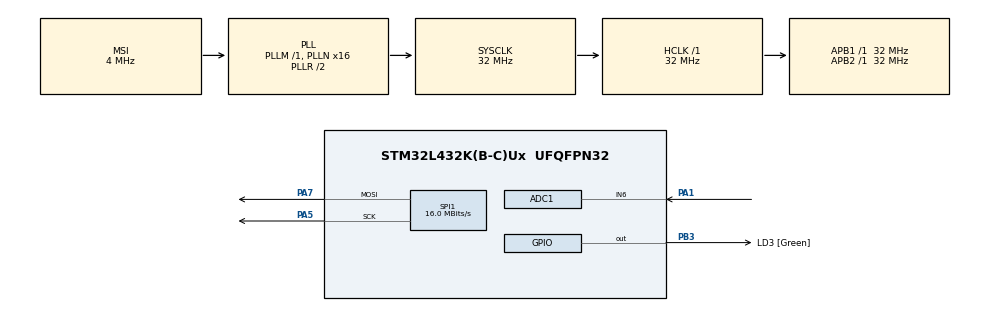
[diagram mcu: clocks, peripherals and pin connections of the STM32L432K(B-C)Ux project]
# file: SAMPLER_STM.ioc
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ADC1.Channel-0\#ChannelRegularConversion=ADC_CHANNEL_6
ADC1.ExternalTrigConv=ADC_EXTERNALTRIG_T1_TRGO
ADC1.NbrOfConversionFlag=1
ADC1.OffsetNumber-0\#ChannelRegularConversion=ADC_OFFSET_NONE
ADC1.Rank-0\#ChannelRegularConversion=1
ADC1.Resolution=ADC_RESOLUTION_12B
ADC1.SamplingTime-0\#ChannelRegularConversion=ADC_SAMPLETIME_2CYCLES_5
ADC1.master=1
Mcu.Family=STM32L4
Mcu.Name=STM32L432K(B-C)Ux
Mcu.Package=UFQFPN32
NVIC.ADC1_IRQn=true\:0\:0\:false\:false\:true\:true\:true\:true
NVIC.PriorityGroup=NVIC_PRIORITYGROUP_4
NVIC.SPI1_IRQn=true\:0\:0\:false\:false\:true\:true\:true\:true
NVIC.TIM1_BRK_TIM15_IRQn=true\:0\:0\:false\:false\:true\:true\:true\:true
NVIC.TIM1_CC_IRQn=true\:0\:0\:false\:false\:true\:true\:true\:true
NVIC.TIM1_TRG_COM_IRQn=true\:0\:0\:false\:false\:true\:true\:true\:true
NVIC.TIM1_UP_TIM16_IRQn=true\:0\:0\:false\:false\:true\:true\:true\:true
PA0.GPIO_Label=MCO [High speed clock in]
PA0.Mode=HSE-External-Clock-Source-for-LittleOrca
PA0.Signal=RCC_CK_IN
PA1.Signal=ADCx_IN6
PA13\ (JTMS-SWDIO).GPIO_Label=SWDIO
PA13\ (JTMS-SWDIO).Mode=Serial_Wire
PA13\ (JTMS-SWDIO).Signal=SYS_JTMS-SWDIO
PA14\ (JTCK-SWCLK).GPIO_Label=SWCLK
PA14\ (JTCK-SWCLK).Mode=Serial_Wire
PA14\ (JTCK-SWCLK).Signal=SYS_JTCK-SWCLK
PA15\ (JTDI).GPIO_Label=VCP_RX
PA15\ (JTDI).Signal=USART2_RX
PA2.GPIO_Label=VCP_TX
PA2.Signal=USART2_TX
PA5.Mode=TX_Only_Simplex_Unidirect_Master
PA5.Signal=SPI1_SCK
PA7.Mode=TX_Only_Simplex_Unidirect_Master
PA7.Signal=SPI1_MOSI
PB3\ (JTDO-TRACESWO).GPIO_Label=LD3 [Green]
PB3\ (JTDO-TRACESWO).Signal=GPIO_Output
PC14-OSC32_IN\ (PC14).Mode=LSE-External-Oscillator
PC14-OSC32_IN\ (PC14).Signal=RCC_OSC32_IN
PC15-OSC32_OUT\ (PC15).Mode=LSE-External-Oscillator
PC15-OSC32_OUT\ (PC15).Signal=RCC_OSC32_OUT
ProjectManager.HeapSize=0x200
ProjectManager.StackSize=0x400
ProjectManager.TargetToolchain=STM32CubeIDE
RCC.ADCFreq_Value=32000000
RCC.AHBFreq_Value=32000000
RCC.APB1Freq_Value=32000000
RCC.APB1TimFreq_Value=32000000
RCC.APB2Freq_Value=32000000
RCC.APB2TimFreq_Value=32000000
RCC.CortexFreq_Value=32000000
RCC.HCLKFreq_Value=32000000
RCC.HSE_VALUE=8000000
RCC.HSI16_VALUE=16000000
RCC.HSI48_VALUE=48000000
RCC.HSI_VALUE=16000000
RCC.MSI_VALUE=4000000
RCC.PLLMUL=RCC_PLLMUL_4
RCC.PLLN=16
RCC.PLLSAI1N=16
RCC.SYSCLKFreq_VALUE=32000000
RCC.SYSCLKSource=RCC_SYSCLKSOURCE_PLLCLK
RCC.USBFreq_Value=32000000
RCC.VCOOutputFreq_Value=64000000
SH.ADCx_IN6.0=ADC1_IN6,IN6-Single-Ended
SPI1.CalculateBaudRate=16.0 MBits/s
SPI1.DataSize=SPI_DATASIZE_16BIT
SPI1.Direction=SPI_DIRECTION_2LINES
SPI1.Mode=SPI_MODE_MASTER
SPI1.VirtualType=VM_MASTER
TIM1.Period=724
TIM1.Prescaler=0
TIM1.TIM_MasterOutputTrigger=TIM_TRGO_UPDATE
VP_TIM1_VS_ClockSourceINT.Mode=Internal
board=NUCLEO-L432KC

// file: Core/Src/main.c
/* USER CODE BEGIN Header */
/**
  ******************************************************************************
  * @file           : main.c
  * @brief          : Main program body
  ******************************************************************************
  * @attention
  *
  * Copyright (c) 2026 STMicroelectronics.
  * All rights reserved.
  *
  * This software is licensed under terms that can be found in the LICENSE file
  * in the root directory of this software component.
  * If no LICENSE file comes with this software, it is provided AS-IS.
  *
  ******************************************************************************
  */
/* USER CODE END Header */
#include "main.h"

/* USER CODE BEGIN Includes */
#include "stm32l4xx_ll_spi.h"
/* USER CODE END Includes */

ADC_HandleTypeDef hadc1;

TIM_HandleTypeDef htim1;

/* USER CODE BEGIN PV */

// required bit depth of 10 bits per sample
uint16_t raw_adc_val = 0;
// SPI is configured to send 16-bit at a time so send adc value one shot
uint16_t TX_data = 0;

/* USER CODE END PV */

void SystemClock_Config(void);
static void MX_GPIO_Init(void);
static void MX_ADC1_Init(void);
static void MX_TIM1_Init(void);
static void MX_SPI1_Init(void);
/* USER CODE BEGIN PFP */
static void SPI1_WriteTwoBytes(uint16_t tx_data);
/* USER CODE END PFP */

int main(void)
{

  /* MCU Configuration--------------------------------------------------------*/

  /* Reset of all peripherals, Initializes the Flash interface and the Systick. */
  HAL_Init();

  /* Configure the system clock */
  SystemClock_Config();

  /* Initialize all configured peripherals */
  MX_GPIO_Init();
  MX_ADC1_Init();
  MX_TIM1_Init();
  MX_SPI1_Init();
  /* USER CODE BEGIN 2 */
  HAL_GPIO_WritePin(LD3_GPIO_Port, LD3_Pin, GPIO_PIN_SET);
  // Enable the LL SPI controller (Taken from Week 6 lab)
  LL_SPI_Enable(SPI1);

  // Start ADC in interrupt mode
  // note: adc external trigger is TIM1_TRGO, the adc will wait for tim1 trigger events to only start running
  HAL_ADC_Start_IT(&hadc1);
  // Start TIM!
  HAL_TIM_Base_Start(&htim1);

  /* USER CODE END 2 */

  /* Infinite loop */
  while (1)
  {

  }
}

void SystemClock_Config(void)
{
  RCC_OscInitTypeDef RCC_OscInitStruct = {0};
  RCC_ClkInitTypeDef RCC_ClkInitStruct = {0};

  /** Configure the main internal regulator output voltage
  */
  if (HAL_PWREx_ControlVoltageScaling(PWR_REGULATOR_VOLTAGE_SCALE1) != HAL_OK)
  {
    Error_Handler();
  }

  /** Configure LSE Drive Capability
  */
  HAL_PWR_EnableBkUpAccess();
  __HAL_RCC_LSEDRIVE_CONFIG(RCC_LSEDRIVE_LOW);

  /** Initializes the RCC Oscillators according to the specified parameters
  * in the RCC_OscInitTypeDef structure.
  */
  RCC_OscInitStruct.OscillatorType = RCC_OSCILLATORTYPE_LSE|RCC_OSCILLATORTYPE_MSI;
  RCC_OscInitStruct.LSEState = RCC_LSE_ON;
  RCC_OscInitStruct.MSIState = RCC_MSI_ON;
  RCC_OscInitStruct.MSICalibrationValue = 0;
  RCC_OscInitStruct.MSIClockRange = RCC_MSIRANGE_6;
  RCC_OscInitStruct.PLL.PLLState = RCC_PLL_ON;
  RCC_OscInitStruct.PLL.PLLSource = RCC_PLLSOURCE_MSI;
  RCC_OscInitStruct.PLL.PLLM = 1;
  RCC_OscInitStruct.PLL.PLLN = 16;
  RCC_OscInitStruct.PLL.PLLP = RCC_PLLP_DIV7;
  RCC_OscInitStruct.PLL.PLLQ = RCC_PLLQ_DIV2;
  RCC_OscInitStruct.PLL.PLLR = RCC_PLLR_DIV2;
  if (HAL_RCC_OscConfig(&RCC_OscInitStruct) != HAL_OK)
  {
    Error_Handler();
  }

  /** Initializes the CPU, AHB and APB buses clocks
  */
  RCC_ClkInitStruct.ClockType = RCC_CLOCKTYPE_HCLK|RCC_CLOCKTYPE_SYSCLK
                              |RCC_CLOCKTYPE_PCLK1|RCC_CLOCKTYPE_PCLK2;
  RCC_ClkInitStruct.SYSCLKSource = RCC_SYSCLKSOURCE_PLLCLK;
  RCC_ClkInitStruct.AHBCLKDivider = RCC_SYSCLK_DIV1;
  RCC_ClkInitStruct.APB1CLKDivider = RCC_HCLK_DIV1;
  RCC_ClkInitStruct.APB2CLKDivider = RCC_HCLK_DIV1;

  if (HAL_RCC_ClockConfig(&RCC_ClkInitStruct, FLASH_LATENCY_1) != HAL_OK)
  {
    Error_Handler();
  }

  /** Enable MSI Auto calibration
  */
  HAL_RCCEx_EnableMSIPLLMode();
}

static void MX_ADC1_Init(void)
{

  ADC_ChannelConfTypeDef sConfig = {0};

  /** Common config
  */
  hadc1.Instance = ADC1;
  hadc1.Init.ClockPrescaler = ADC_CLOCK_ASYNC_DIV1;
  hadc1.Init.Resolution = ADC_RESOLUTION_12B;
  hadc1.Init.DataAlign = ADC_DATAALIGN_RIGHT;
  hadc1.Init.ScanConvMode = ADC_SCAN_DISABLE;
  hadc1.Init.EOCSelection = ADC_EOC_SINGLE_CONV;
  hadc1.Init.LowPowerAutoWait = DISABLE;
  hadc1.Init.ContinuousConvMode = DISABLE;
  hadc1.Init.NbrOfConversion = 1;
  hadc1.Init.DiscontinuousConvMode = DISABLE;
  hadc1.Init.ExternalTrigConv = ADC_EXTERNALTRIG_T1_TRGO;
  hadc1.Init.ExternalTrigConvEdge = ADC_EXTERNALTRIGCONVEDGE_RISING;
  hadc1.Init.DMAContinuousRequests = DISABLE;
  hadc1.Init.Overrun = ADC_OVR_DATA_PRESERVED;
  hadc1.Init.OversamplingMode = DISABLE;
  if (HAL_ADC_Init(&hadc1) != HAL_OK)
  {
    Error_Handler();
  }

  /** Configure Regular Channel
  */
  sConfig.Channel = ADC_CHANNEL_6;
  sConfig.Rank = ADC_REGULAR_RANK_1;
  sConfig.SamplingTime = ADC_SAMPLETIME_2CYCLES_5;
  sConfig.SingleDiff = ADC_SINGLE_ENDED;
  sConfig.OffsetNumber = ADC_OFFSET_NONE;
  sConfig.Offset = 0;
  if (HAL_ADC_ConfigChannel(&hadc1, &sConfig) != HAL_OK)
  {
    Error_Handler();
  }

}

static void MX_SPI1_Init(void)
{

  LL_SPI_InitTypeDef SPI_InitStruct = {0};

  LL_GPIO_InitTypeDef GPIO_InitStruct = {0};

  /* Peripheral clock enable */
  LL_APB2_GRP1_EnableClock(LL_APB2_GRP1_PERIPH_SPI1);

  LL_AHB2_GRP1_EnableClock(LL_AHB2_GRP1_PERIPH_GPIOA);
  /**SPI1 GPIO Configuration
  PA5   ------> SPI1_SCK
  PA7   ------> SPI1_MOSI
  */
  GPIO_InitStruct.Pin = LL_GPIO_PIN_5|LL_GPIO_PIN_7;
  GPIO_InitStruct.Mode = LL_GPIO_MODE_ALTERNATE;
  GPIO_InitStruct.Speed = LL_GPIO_SPEED_FREQ_VERY_HIGH;
  GPIO_InitStruct.OutputType = LL_GPIO_OUTPUT_PUSHPULL;
  GPIO_InitStruct.Pull = LL_GPIO_PULL_NO;
  GPIO_InitStruct.Alternate = LL_GPIO_AF_5;
  LL_GPIO_Init(GPIOA, &GPIO_InitStruct);

  /* SPI1 interrupt Init */
  NVIC_SetPriority(SPI1_IRQn, NVIC_EncodePriority(NVIC_GetPriorityGrouping(),0, 0));
  NVIC_EnableIRQ(SPI1_IRQn);

  /* SPI1 parameter configuration*/
  SPI_InitStruct.TransferDirection = LL_SPI_FULL_DUPLEX;
  SPI_InitStruct.Mode = LL_SPI_MODE_MASTER;
  SPI_InitStruct.DataWidth = LL_SPI_DATAWIDTH_16BIT;
  SPI_InitStruct.ClockPolarity = LL_SPI_POLARITY_LOW;
  SPI_InitStruct.ClockPhase = LL_SPI_PHASE_1EDGE;
  SPI_InitStruct.NSS = LL_SPI_NSS_SOFT;
  SPI_InitStruct.BaudRate = LL_SPI_BAUDRATEPRESCALER_DIV2;
  SPI_InitStruct.BitOrder = LL_SPI_MSB_FIRST;
  SPI_InitStruct.CRCCalculation = LL_SPI_CRCCALCULATION_DISABLE;
  SPI_InitStruct.CRCPoly = 7;
  LL_SPI_Init(SPI1, &SPI_InitStruct);
  LL_SPI_SetStandard(SPI1, LL_SPI_PROTOCOL_MOTOROLA);
  LL_SPI_EnableNSSPulseMgt(SPI1);

}

static void MX_TIM1_Init(void)
{

  TIM_ClockConfigTypeDef sClockSourceConfig = {0};
  TIM_MasterConfigTypeDef sMasterConfig = {0};

  htim1.Instance = TIM1;
  htim1.Init.Prescaler = 0;
  htim1.Init.CounterMode = TIM_COUNTERMODE_UP;
  htim1.Init.Period = 724;
  htim1.Init.ClockDivision = TIM_CLOCKDIVISION_DIV1;
  htim1.Init.RepetitionCounter = 0;
  htim1.Init.AutoReloadPreload = TIM_AUTORELOAD_PRELOAD_DISABLE;
  if (HAL_TIM_Base_Init(&htim1) != HAL_OK)
  {
    Error_Handler();
  }
  sClockSourceConfig.ClockSource = TIM_CLOCKSOURCE_INTERNAL;
  if (HAL_TIM_ConfigClockSource(&htim1, &sClockSourceConfig) != HAL_OK)
  {
    Error_Handler();
  }
  sMasterConfig.MasterOutputTrigger = TIM_TRGO_UPDATE;
  sMasterConfig.MasterOutputTrigger2 = TIM_TRGO2_RESET;
  sMasterConfig.MasterSlaveMode = TIM_MASTERSLAVEMODE_DISABLE;
  if (HAL_TIMEx_MasterConfigSynchronization(&htim1, &sMasterConfig) != HAL_OK)
  {
    Error_Handler();
  }

}

static void MX_GPIO_Init(void)
{
  GPIO_InitTypeDef GPIO_InitStruct = {0};

  /* GPIO Ports Clock Enable */
  __HAL_RCC_GPIOC_CLK_ENABLE();
  __HAL_RCC_GPIOA_CLK_ENABLE();
  __HAL_RCC_GPIOB_CLK_ENABLE();

  /*Configure GPIO pin Output Level */
  HAL_GPIO_WritePin(LD3_GPIO_Port, LD3_Pin, GPIO_PIN_RESET);

  /*Configure GPIO pin : VCP_TX_Pin */
  GPIO_InitStruct.Pin = VCP_TX_Pin;
  GPIO_InitStruct.Mode = GPIO_MODE_AF_PP;
  GPIO_InitStruct.Pull = GPIO_NOPULL;
  GPIO_InitStruct.Speed = GPIO_SPEED_FREQ_VERY_HIGH;
  GPIO_InitStruct.Alternate = GPIO_AF7_USART2;
  HAL_GPIO_Init(VCP_TX_GPIO_Port, &GPIO_InitStruct);

  /*Configure GPIO pin : VCP_RX_Pin */
  GPIO_InitStruct.Pin = VCP_RX_Pin;
  GPIO_InitStruct.Mode = GPIO_MODE_AF_PP;
  GPIO_InitStruct.Pull = GPIO_NOPULL;
  GPIO_InitStruct.Speed = GPIO_SPEED_FREQ_VERY_HIGH;
  GPIO_InitStruct.Alternate = GPIO_AF3_USART2;
  HAL_GPIO_Init(VCP_RX_GPIO_Port, &GPIO_InitStruct);

  /*Configure GPIO pin : LD3_Pin */
  GPIO_InitStruct.Pin = LD3_Pin;
  GPIO_InitStruct.Mode = GPIO_MODE_OUTPUT_PP;
  GPIO_InitStruct.Pull = GPIO_NOPULL;
  GPIO_InitStruct.Speed = GPIO_SPEED_FREQ_LOW;
  HAL_GPIO_Init(LD3_GPIO_Port, &GPIO_InitStruct);

}

/* USER CODE BEGIN 4 */
// this function is from Week 6 Lab
static void SPI1_WriteTwoBytes(uint16_t tx_data){
    while (!LL_SPI_IsActiveFlag_TXE(SPI1)) {}	// wait until SPI1 is ready to accept new data
    LL_SPI_TransmitData16(SPI1, tx_data);		// write 16 bits into SPI data register
    while (LL_SPI_IsActiveFlag_BSY(SPI1)) {}	// wait until spi is no longer busy
    LL_SPI_ClearFlag_OVR(SPI1);
}

void HAL_ADC_ConvCpltCallback(ADC_HandleTypeDef *hadc)
{
	if (hadc->Instance == ADC1)
	{
		raw_adc_val = HAL_ADC_GetValue(hadc);		// 12-bit value stored in a 16-bit word

		TX_data = raw_adc_val & 0x0FFF;				// perform AND operation to essentially copy the 12-bit adc value only
		// transmit the 12 bit data as a 16-bit over SPI
		SPI1_WriteTwoBytes(TX_data);
	}
}

/* USER CODE END 4 */

void Error_Handler(void)
{
  __disable_irq();
  while (1)
  {
  }
}
